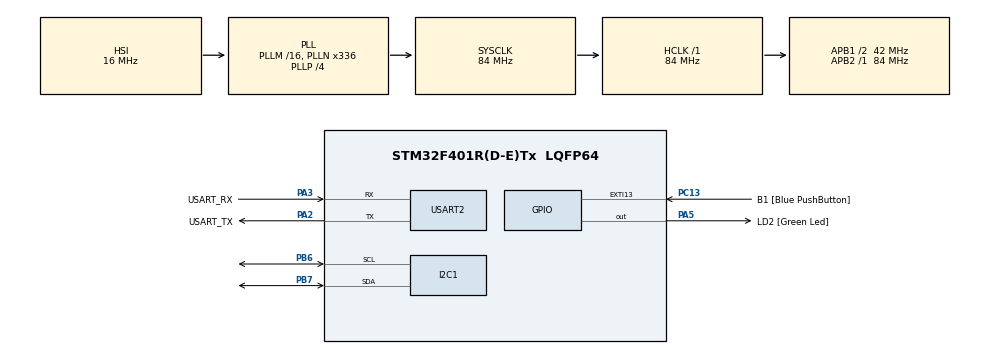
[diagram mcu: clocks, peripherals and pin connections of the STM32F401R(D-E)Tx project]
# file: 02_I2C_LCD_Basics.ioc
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Mcu.Family=STM32F4
Mcu.Name=STM32F401R(D-E)Tx
Mcu.Package=LQFP64
NVIC.PriorityGroup=NVIC_PRIORITYGROUP_4
PA13.GPIO_Label=TMS
PA13.Mode=Trace_Asynchronous_SW
PA13.Signal=SYS_JTMS-SWDIO
PA14.GPIO_Label=TCK
PA14.Mode=Trace_Asynchronous_SW
PA14.Signal=SYS_JTCK-SWCLK
PA2.GPIO_Label=USART_TX
PA2.GPIO_Mode=GPIO_MODE_AF_PP
PA2.GPIO_PuPd=GPIO_NOPULL
PA2.GPIO_Speed=GPIO_SPEED_FREQ_LOW
PA2.Mode=Asynchronous
PA2.Signal=USART2_TX
PA3.GPIO_Label=USART_RX
PA3.GPIO_Mode=GPIO_MODE_AF_PP
PA3.GPIO_PuPd=GPIO_NOPULL
PA3.GPIO_Speed=GPIO_SPEED_FREQ_LOW
PA3.Mode=Asynchronous
PA3.Signal=USART2_RX
PA5.GPIO_Label=LD2 [Green Led]
PA5.GPIO_Mode=GPIO_MODE_OUTPUT_PP
PA5.GPIO_PuPd=GPIO_NOPULL
PA5.GPIO_Speed=GPIO_SPEED_FREQ_LOW
PA5.Signal=GPIO_Output
PB3.GPIO_Label=SWO
PB3.Mode=Trace_Asynchronous_SW
PB3.Signal=SYS_JTDO-SWO
PB6.Mode=I2C
PB6.Signal=I2C1_SCL
PB7.Mode=I2C
PB7.Signal=I2C1_SDA
PC13-ANTI_TAMP.GPIO_Label=B1 [Blue PushButton]
PC13-ANTI_TAMP.GPIO_ModeDefaultEXTI=GPIO_MODE_IT_FALLING
PC13-ANTI_TAMP.GPIO_PuPd=GPIO_NOPULL
PC13-ANTI_TAMP.Signal=GPXTI13
PC14-OSC32_IN.Mode=LSE-External-Oscillator
PC14-OSC32_IN.Signal=RCC_OSC32_IN
PC15-OSC32_OUT.Mode=LSE-External-Oscillator
PC15-OSC32_OUT.Signal=RCC_OSC32_OUT
PH0\ -\ OSC_IN.Mode=HSE-External-Clock-Source
PH0\ -\ OSC_IN.Signal=RCC_OSC_IN
PH1\ -\ OSC_OUT.Mode=HSE-External-Clock-Source
PH1\ -\ OSC_OUT.Signal=RCC_OSC_OUT
ProjectManager.HeapSize=0x200
ProjectManager.StackSize=0x400
ProjectManager.TargetToolchain=STM32CubeIDE
RCC.48MHZClocksFreq_Value=48000000
RCC.AHBFreq_Value=84000000
RCC.APB1CLKDivider=RCC_HCLK_DIV2
RCC.APB1Freq_Value=42000000
RCC.APB1TimFreq_Value=84000000
RCC.APB2Freq_Value=84000000
RCC.APB2TimFreq_Value=84000000
RCC.CortexFreq_Value=84000000
RCC.HCLKFreq_Value=84000000
RCC.HSE_VALUE=8000000
RCC.HSI_VALUE=16000000
RCC.PLLN=336
RCC.PLLP=RCC_PLLP_DIV4
RCC.PLLQ=7
RCC.SYSCLKFreq_VALUE=84000000
RCC.SYSCLKSource=RCC_SYSCLKSOURCE_PLLCLK
RCC.VCOOutputFreq_Value=336000000
USART2.VirtualMode=VM_ASYNC
board=NUCLEO-F401RE

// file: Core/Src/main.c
/* USER CODE BEGIN Header */
/**
  ******************************************************************************
  * @file           : main.c
  * @brief          : Main program body
  ******************************************************************************
  * @attention
  *
  * Copyright (c) 2026 STMicroelectronics.
  * All rights reserved.
  *
  * This software is licensed under terms that can be found in the LICENSE file
  * in the root directory of this software component.
  * If no LICENSE file comes with this software, it is provided AS-IS.
  *
  ******************************************************************************
  */
/* USER CODE END Header */
#include "main.h"

/* USER CODE BEGIN Includes */
#include "i2c-lcd.h"
#include <string.h>
/* USER CODE END Includes */

I2C_HandleTypeDef hi2c1;

UART_HandleTypeDef huart2;

void SystemClock_Config(void);
static void MX_GPIO_Init(void);
static void MX_USART2_UART_Init(void);
static void MX_I2C1_Init(void);

int main(void)
{

  /* MCU Configuration--------------------------------------------------------*/

  /* Reset of all peripherals, Initializes the Flash interface and the Systick. */
  HAL_Init();

  /* Configure the system clock */
  SystemClock_Config();

  /* Initialize all configured peripherals */
  MX_GPIO_Init();
  MX_USART2_UART_Init();
  MX_I2C1_Init();
  /* USER CODE BEGIN 2 */
  lcd_init();
  lcd_send_string("Now Playing: ");

  //sliding string
  char song[]="kent - If You Were Here     ";
  int len=strlen(song);
  int pos=0;
  char buffer[17];
  /* USER CODE END 2 */

  /* Infinite loop */
  while (1)
  {

    /* USER CODE BEGIN 3 */
	  //send the cursor below
	  lcd_send_cmd(0x80| 0x40);

	  //cut 16 char from string and send it to the buffer
	  for(int i=0;i<16;i++){
		  buffer[i]=song[(pos+i)%len];
	  }
	  buffer[16]='\0'; //null terminator

	  //send new string
	  lcd_send_string(buffer);

	  //slide position
	  pos++;
	  if(pos>=len){
		  pos=0;
	  }
	  HAL_Delay(300);
  }
  /* USER CODE END 3 */
}

void SystemClock_Config(void)
{
  RCC_OscInitTypeDef RCC_OscInitStruct = {0};
  RCC_ClkInitTypeDef RCC_ClkInitStruct = {0};

  /** Configure the main internal regulator output voltage
  */
  __HAL_RCC_PWR_CLK_ENABLE();
  __HAL_PWR_VOLTAGESCALING_CONFIG(PWR_REGULATOR_VOLTAGE_SCALE2);

  /** Initializes the RCC Oscillators according to the specified parameters
  * in the RCC_OscInitTypeDef structure.
  */
  RCC_OscInitStruct.OscillatorType = RCC_OSCILLATORTYPE_HSI;
  RCC_OscInitStruct.HSIState = RCC_HSI_ON;
  RCC_OscInitStruct.HSICalibrationValue = RCC_HSICALIBRATION_DEFAULT;
  RCC_OscInitStruct.PLL.PLLState = RCC_PLL_ON;
  RCC_OscInitStruct.PLL.PLLSource = RCC_PLLSOURCE_HSI;
  RCC_OscInitStruct.PLL.PLLM = 16;
  RCC_OscInitStruct.PLL.PLLN = 336;
  RCC_OscInitStruct.PLL.PLLP = RCC_PLLP_DIV4;
  RCC_OscInitStruct.PLL.PLLQ = 7;
  if (HAL_RCC_OscConfig(&RCC_OscInitStruct) != HAL_OK)
  {
    Error_Handler();
  }

  /** Initializes the CPU, AHB and APB buses clocks
  */
  RCC_ClkInitStruct.ClockType = RCC_CLOCKTYPE_HCLK|RCC_CLOCKTYPE_SYSCLK
                              |RCC_CLOCKTYPE_PCLK1|RCC_CLOCKTYPE_PCLK2;
  RCC_ClkInitStruct.SYSCLKSource = RCC_SYSCLKSOURCE_PLLCLK;
  RCC_ClkInitStruct.AHBCLKDivider = RCC_SYSCLK_DIV1;
  RCC_ClkInitStruct.APB1CLKDivider = RCC_HCLK_DIV2;
  RCC_ClkInitStruct.APB2CLKDivider = RCC_HCLK_DIV1;

  if (HAL_RCC_ClockConfig(&RCC_ClkInitStruct, FLASH_LATENCY_2) != HAL_OK)
  {
    Error_Handler();
  }
}

static void MX_I2C1_Init(void)
{

  hi2c1.Instance = I2C1;
  hi2c1.Init.ClockSpeed = 100000;
  hi2c1.Init.DutyCycle = I2C_DUTYCYCLE_2;
  hi2c1.Init.OwnAddress1 = 0;
  hi2c1.Init.AddressingMode = I2C_ADDRESSINGMODE_7BIT;
  hi2c1.Init.DualAddressMode = I2C_DUALADDRESS_DISABLE;
  hi2c1.Init.OwnAddress2 = 0;
  hi2c1.Init.GeneralCallMode = I2C_GENERALCALL_DISABLE;
  hi2c1.Init.NoStretchMode = I2C_NOSTRETCH_DISABLE;
  if (HAL_I2C_Init(&hi2c1) != HAL_OK)
  {
    Error_Handler();
  }

}

static void MX_USART2_UART_Init(void)
{

  huart2.Instance = USART2;
  huart2.Init.BaudRate = 115200;
  huart2.Init.WordLength = UART_WORDLENGTH_8B;
  huart2.Init.StopBits = UART_STOPBITS_1;
  huart2.Init.Parity = UART_PARITY_NONE;
  huart2.Init.Mode = UART_MODE_TX_RX;
  huart2.Init.HwFlowCtl = UART_HWCONTROL_NONE;
  huart2.Init.OverSampling = UART_OVERSAMPLING_16;
  if (HAL_UART_Init(&huart2) != HAL_OK)
  {
    Error_Handler();
  }

}

static void MX_GPIO_Init(void)
{
  GPIO_InitTypeDef GPIO_InitStruct = {0};

  /* GPIO Ports Clock Enable */
  __HAL_RCC_GPIOC_CLK_ENABLE();
  __HAL_RCC_GPIOH_CLK_ENABLE();
  __HAL_RCC_GPIOA_CLK_ENABLE();
  __HAL_RCC_GPIOB_CLK_ENABLE();

  /*Configure GPIO pin Output Level */
  HAL_GPIO_WritePin(LD2_GPIO_Port, LD2_Pin, GPIO_PIN_RESET);

  /*Configure GPIO pin : B1_Pin */
  GPIO_InitStruct.Pin = B1_Pin;
  GPIO_InitStruct.Mode = GPIO_MODE_IT_FALLING;
  GPIO_InitStruct.Pull = GPIO_NOPULL;
  HAL_GPIO_Init(B1_GPIO_Port, &GPIO_InitStruct);

  /*Configure GPIO pin : LD2_Pin */
  GPIO_InitStruct.Pin = LD2_Pin;
  GPIO_InitStruct.Mode = GPIO_MODE_OUTPUT_PP;
  GPIO_InitStruct.Pull = GPIO_NOPULL;
  GPIO_InitStruct.Speed = GPIO_SPEED_FREQ_LOW;
  HAL_GPIO_Init(LD2_GPIO_Port, &GPIO_InitStruct);

}

void Error_Handler(void)
{
  __disable_irq();
  while (1)
  {
  }
}
